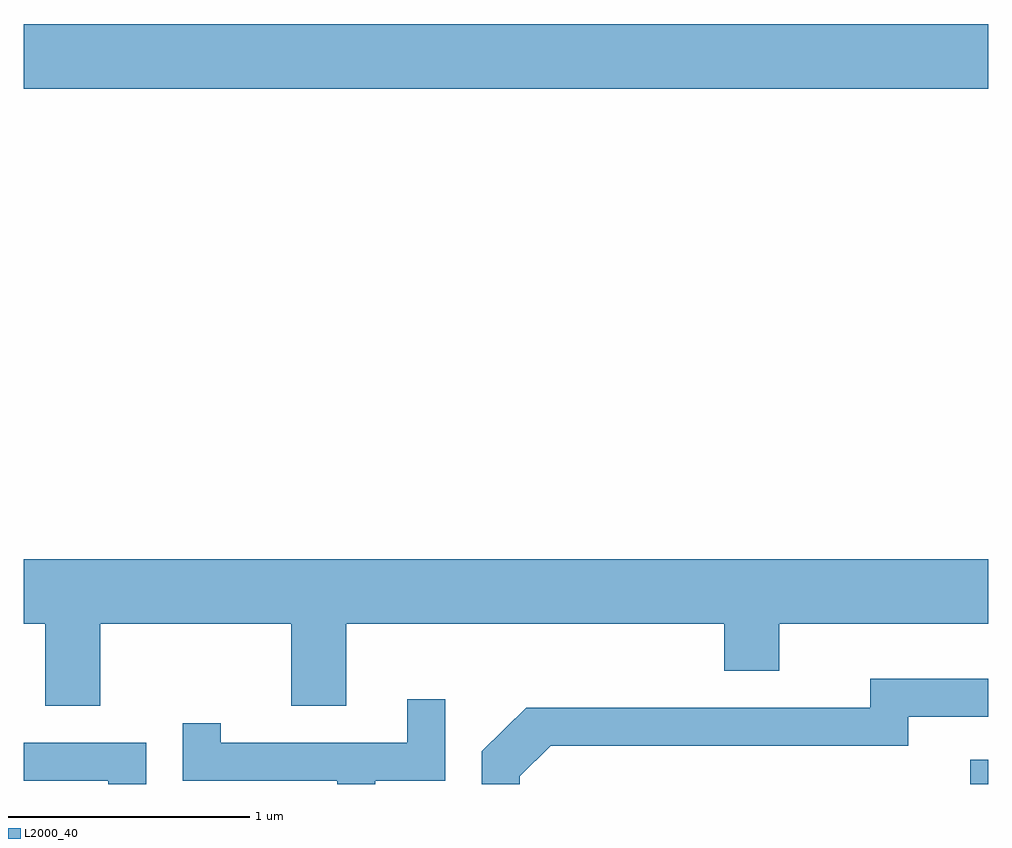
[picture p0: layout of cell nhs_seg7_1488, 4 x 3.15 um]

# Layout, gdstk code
import gdstk
lib = gdstk.Library(unit=1e-6, precision=1e-09)
def R(c, l, rs):  # rectangles x0, y0, x1, y1
    for r in rs: c.add(gdstk.rectangle(r[:2], r[2:], *l))
def P(c, l, *ps):  # polygons
    for p in ps: c.add(gdstk.Polygon(p, *l))
L2000_40 = (2000, 40)

nhs_seg7_1488 = lib.new_cell('nhs_seg7_1488')
R(nhs_seg7_1488, L2000_40, [(233.536,1780.252,233.611,1780.353), (229.611,1783.136,233.611,1783.404)])
P(nhs_seg7_1488, L2000_40, [(229.929,1780.916),(230.721,1780.916),(230.721,1780.576),(230.949,1780.576),(230.949,1780.916),(232.516,1780.916),(232.516,1780.721),(232.744,1780.721),(232.744,1780.916),(233.611,1780.916),(233.611,1781.184),(229.611,1781.184),(229.611,1780.916),(229.701,1780.916),(229.701,1780.576),(229.929,1780.576)],
  [(231.669,1780.284),(231.797,1780.411),(233.279,1780.411),(233.279,1780.531),(233.611,1780.531),(233.611,1780.689),(233.121,1780.689),(233.121,1780.569),(231.694,1780.569),(231.511,1780.387),(231.511,1780.252),(231.669,1780.252)],
  [(231.069,1780.266),(231.359,1780.266),(231.359,1780.603),(231.201,1780.603),(231.201,1780.424),(230.429,1780.424),(230.429,1780.503),(230.271,1780.503),(230.271,1780.266),(230.911,1780.266),(230.911,1780.252),(231.069,1780.252)],
  [(230.119,1780.424),(229.611,1780.424),(229.611,1780.266),(229.961,1780.266),(229.961,1780.252),(230.119,1780.252)])

lib.write_gds('nhs_seg7_1488.gds')
